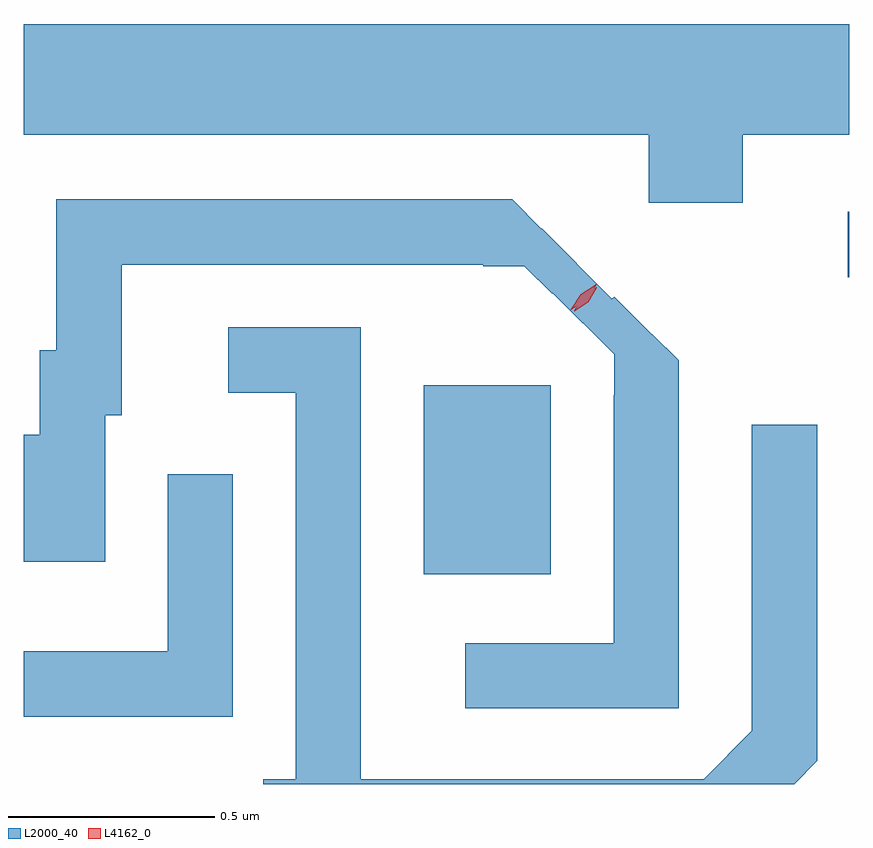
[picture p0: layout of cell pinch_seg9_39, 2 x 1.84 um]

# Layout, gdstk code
import gdstk
lib = gdstk.Library(unit=1e-6, precision=1e-09)
def R(c, l, rs):  # rectangles x0, y0, x1, y1
    for r in rs: c.add(gdstk.rectangle(r[:2], r[2:], *l))
def P(c, l, *ps):  # polygons
    for p in ps: c.add(gdstk.Polygon(p, *l))
L2000_40 = (2000, 40)
L4162_0 = (4162, 0)

pinch_seg9_39 = lib.new_cell('pinch_seg9_39')
R(pinch_seg9_39, L2000_40, [(1032.531,2012.951,1032.839,2013.409), (1033.558,2013.671,1033.562,2013.829)])
P(pinch_seg9_39, L2000_40, [(1033.304,2014.016),(1033.562,2014.016),(1033.562,2014.284),(1031.562,2014.284),(1031.562,2014.016),(1033.076,2014.016),(1033.076,2013.851),(1033.304,2013.851)],
  [(1033.149,2013.469),(1033.085,2013.533),(1033.083,2013.532),(1032.992,2013.623),(1032.987,2013.619),(1032.817,2013.789),(1032.816,2013.788),(1032.745,2013.859),(1031.641,2013.859),(1031.641,2013.494),(1031.601,2013.494),(1031.601,2013.289),(1031.562,2013.289),(1031.562,2012.981),(1031.759,2012.981),(1031.759,2013.336),(1031.799,2013.336),(1031.799,2013.701),(1032.675,2013.701),(1032.675,2013.697),(1032.775,2013.697),(1032.842,2013.63),(1032.843,2013.632),(1032.992,2013.484),(1032.992,2013.385),(1032.991,2013.385),(1032.991,2012.784),(1032.632,2012.784),(1032.632,2012.626),(1033.149,2012.626)],
  [(1033.484,2012.499),(1033.484,2013.313),(1033.326,2013.313),(1033.326,2012.572),(1033.209,2012.454),(1032.379,2012.454),(1032.379,2013.549),(1032.058,2013.549),(1032.058,2013.391),(1032.221,2013.391),(1032.221,2012.454),(1032.142,2012.454),(1032.142,2012.443),(1033.428,2012.443)],
  [(1032.069,2013.193),(1031.911,2013.193),(1031.911,2012.764),(1031.562,2012.764),(1031.562,2012.606),(1032.069,2012.606)])
P(pinch_seg9_39, L4162_0, [(1032.886,2013.59),(1032.886,2013.591),(1032.911,2013.629),(1032.949,2013.654),(1032.95,2013.654),(1032.95,2013.654),(1032.925,2013.615),(1032.886,2013.59)],
  [(1032.896,2013.588),(1032.896,2013.589),(1032.916,2013.624),(1032.949,2013.646),(1032.95,2013.646),(1032.95,2013.645),(1032.93,2013.61),(1032.897,2013.588)])

lib.write_gds('pinch_seg9_39.gds')
